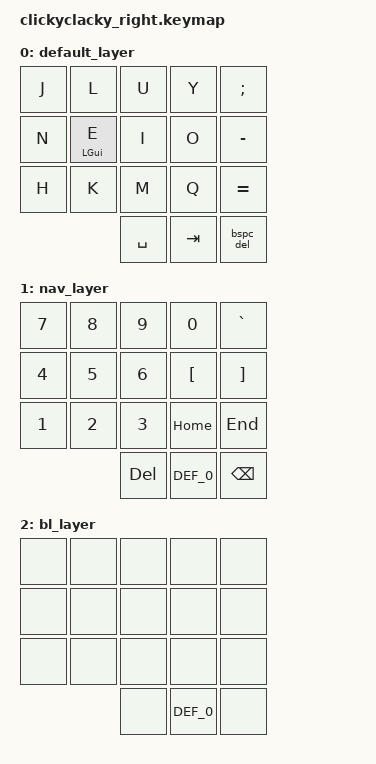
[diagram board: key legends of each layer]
#include <behaviors.dtsi>
#include <dt-bindings/zmk/keys.h>
#include <dt-bindings/zmk/bt.h>
#include <dt-bindings/zmk/outputs.h>

#define DEF_0 0
#define NAV_1 1
#define BLU_2 2


/{
    
    behaviors {
        bspc_del: backspace_delete {
            compatible = "zmk,behavior-mod-morph";
            label = "BACKSPACE_DELETE";
            #binding-cells = <0>;
            bindings = <&kp BACKSPACE>, <&kp DELETE>;
            mods = <(MOD_LSFT)>;
        };
    };

    keymap {
        compatible = "zmk,keymap";

        default_layer {
            bindings = <
                &kp J       &kp L       &kp U       &kp Y       &kp SEMI          
                &kp N       &mt LGUI E  &kp I       &kp O       &kp MINUS          
                &kp H       &kp K       &kp M       &kp Q       &kp EQUAL         
                                        &kp SPACE   &kp TAB     &bspc_del   
            >;
        };

        nav_layer {
            bindings = <
                &kp N7      &kp N8      &kp N9     &kp N0       &kp GRAVE     
                &kp N4      &kp N5      &kp N6     &kp LBKT     &kp RBKT   
                &kp N1      &kp N2      &kp N3     &kp HOME     &kp END   
                                        &kp DEL    &kp DEF_0    &kp BSPC    
            >;
        };

        bl_layer {
            bindings = <     
                &none       &none       &none       &none       &none      
                &none       &none       &none       &none       &none          
                &none       &none       &none       &none       &none        
                                        &none       &kp DEF_0   &none    
            >;
        };
    };
};

